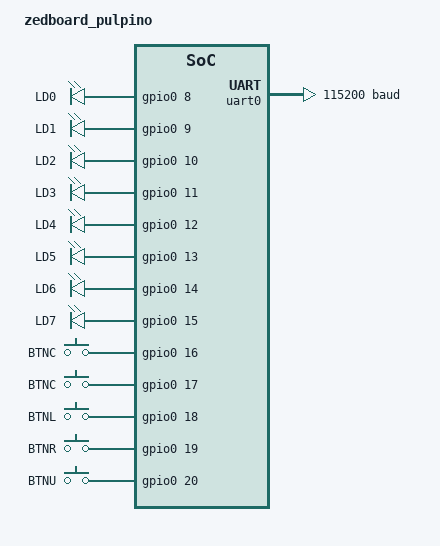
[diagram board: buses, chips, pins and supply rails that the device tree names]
/*
 * Copyright (c) 2018 Linaro Limited
 *
 * SPDX-License-Identifier: Apache-2.0
 */

/dts-v1/;

#include <pulpino.dtsi>

/ {
	model = "zedboard_pulpino";
	compatible = "pulp,zedboard-pulpino";

	aliases {
		uart-0 = &uart0;
		gpio-0 = &gpio0;
		led0 = &led0;
		led1 = &led1;
		led2 = &led2;
		led3 = &led3;
		led4 = &led4;
		led5 = &led5;
		led6 = &led6;
		led7 = &led7;
		sw0 = &btnc;
		sw1 = &btnd;
		sw2 = &btnl;
		sw3 = &btnr;
		sw4 = &btnu;
	};

	chosen {
		zephyr,console = &uart0;
		zephyr,shell-uart = &uart0;
	};

	leds {
		compatible = "gpio-leds";
		led0: led_0 {
			gpios = <&gpio0 8 0>;
			label = "LD0";
		};
		led1: led_1 {
			gpios = <&gpio0 9 0>;
			label = "LD1";
		};
		led2: led_2 {
			gpios = <&gpio0 10 0>;
			label = "LD2";
		};
		led3: led_3 {
			gpios = <&gpio0 11 0>;
			label = "LD3";
		};
		led4: led_4 {
			gpios = <&gpio0 12 0>;
			label = "LD4";
		};
		led5: led_5 {
			gpios = <&gpio0 13 0>;
			label = "LD5";
		};
		led6: led_6 {
			gpios = <&gpio0 14 0>;
			label = "LD6";
		};
		led7: led_7 {
			gpios = <&gpio0 15 0>;
			label = "LD7";
		};
	};

	gpio_keys {
		compatible = "gpio-keys";
		/* center */
		btnc: button_c {
			label = "BTNC";
			gpios = <&gpio0 16 (GPIO_INT_EDGE | GPIO_INT_ACTIVE_HIGH)>;
		};
		/* down */
		btnd: button_d {
			label = "BTNC";
			gpios = <&gpio0 17 (GPIO_INT_EDGE | GPIO_INT_ACTIVE_HIGH)>;
		};
		/* left */
		btnl: button_l {
			label = "BTNL";
			gpios = <&gpio0 18 (GPIO_INT_EDGE | GPIO_INT_ACTIVE_HIGH)>;
		};
		/* right */
		btnr: button_r {
			label = "BTNR";
			gpios = <&gpio0 19 (GPIO_INT_EDGE | GPIO_INT_ACTIVE_HIGH)>;
		};
		/* up */
		btnu: button_u {
			label = "BTNU";
			gpios = <&gpio0 20 (GPIO_INT_EDGE | GPIO_INT_ACTIVE_HIGH)>;
		};
	};
};

&uart0 {
	status = "ok";
	current-speed = <115200>;
};

&gpio0 {
	status = "ok";
};
